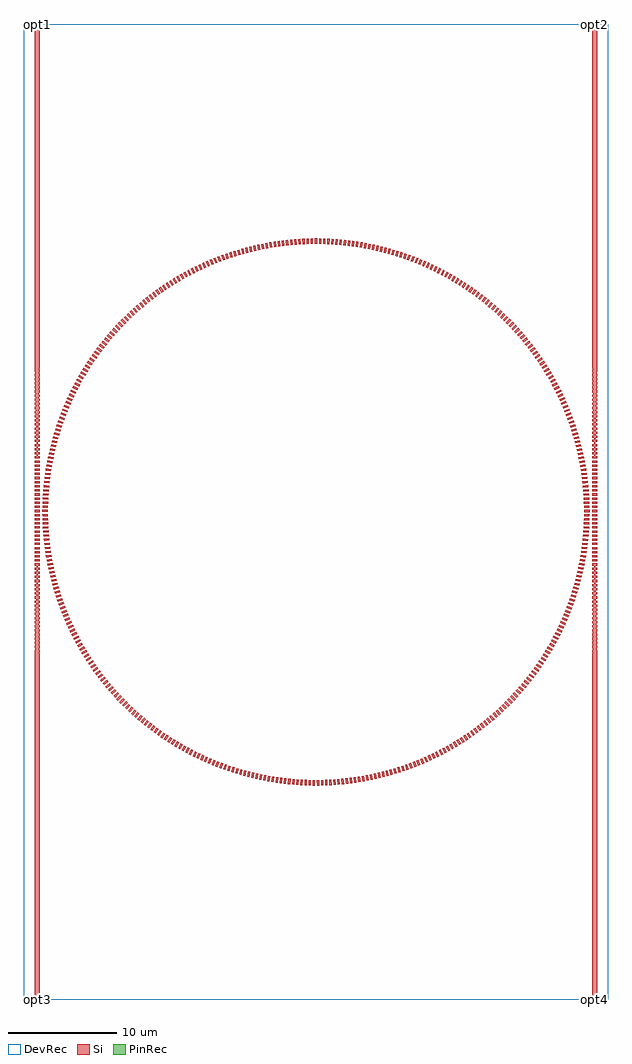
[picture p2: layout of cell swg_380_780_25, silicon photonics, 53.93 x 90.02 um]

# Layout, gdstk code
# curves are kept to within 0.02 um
import gdstk
lib = gdstk.Library(unit=1e-6, precision=1e-09)
def R(c, l, rs):  # rectangles x0, y0, x1, y1
    for r in rs: c.add(gdstk.rectangle(r[:2], r[2:], *l))
def A(c, l, x, y, w, h, nx, ny, dx, dy):  # array of equal rectangles
    R(c, l, [(x+i*dx, y+j*dy, x+i*dx+w, y+j*dy+h) for i in range(nx) for j in range(ny)])
def P(c, l, *ps):  # polygons
    for p in ps: c.add(gdstk.Polygon(p, *l))
Si = (1, 0)
PinRec = (1, 10)
DevRec = (68, 0)

swg_380_780_25 = lib.new_cell('swg_380_780_25')
A(swg_380_780_25, Si, 0, 40.44, 0.5, 0.19, 1, 25, 0, 0.38)
A(swg_380_780_25, Si, 51.426, 40.44, 0.5, 0.19, 1, 25, 0, 0.38)
P(swg_380_780_25, Si, [(25.87,69.728),(25.868,70.228),(26.06,70.228),(26.058,69.728)],
  [(36.946,67.155),(36.777,67.238),(36.996,67.687),(37.168,67.603)],
  [(51.426,49.94),(51.426,50.13),(51.643,50.13),(51.639,50.32),(51.426,50.32),(51.426,50.51),(51.635,50.51),(51.631,50.7),(51.426,50.7),(51.426,50.89),(51.627,50.89),(51.622,51.08),(51.426,51.08),(51.426,51.27),(51.618,51.27),(51.614,51.46),(51.426,51.46),(51.426,51.65),(51.61,51.65),(51.606,51.84),(51.426,51.84),(51.426,52.03),(51.602,52.03),(51.597,52.22),(51.426,52.22),(51.426,52.41),(51.593,52.41),(51.589,52.6),(51.426,52.6),(51.426,52.79),(51.585,52.79),(51.581,52.98),(51.426,52.98),(51.426,53.17),(51.576,53.17),(51.572,53.36),(51.426,53.36),(51.426,53.55),(51.568,53.55),(51.564,53.74),(51.426,53.74),(51.426,53.93),(51.56,53.93),(51.556,54.12),(51.426,54.12),(51.426,54.31),(51.551,54.31),(51.547,54.5),(51.426,54.5),(51.426,54.69),(51.543,54.69),(51.539,54.88),(51.426,54.88),(51.426,55.07),(51.535,55.07),(51.53,55.26),(51.426,55.26),(51.426,55.45),(51.526,55.45),(51.522,55.64),(51.426,55.64),(51.426,55.83),(51.518,55.83),(51.514,56.02),(51.426,56.02),(51.426,56.21),(51.51,56.21),(51.505,56.4),(51.426,56.4),(51.426,56.59),(51.501,56.59),(51.497,56.78),(51.426,56.78),(51.426,56.97),(51.493,56.97),(51.489,57.16),(51.426,57.16),(51.426,57.35),(51.485,57.35),(51.48,57.54),(51.426,57.54),(51.426,57.73),(51.476,57.73),(51.472,57.92),(51.426,57.92),(51.426,58.11),(51.468,58.11),(51.464,58.3),(51.426,58.3),(51.426,58.49),(51.459,58.49),(51.455,58.68),(51.426,58.68),(51.426,58.87),(51.451,58.87),(51.447,59.06),(51.426,59.06),(51.426,90),(51.926,90),(51.926,59.06),(51.905,59.06),(51.901,58.87),(51.926,58.87),(51.926,58.68),(51.897,58.68),(51.893,58.49),(51.926,58.49),(51.926,58.3),(51.888,58.3),(51.884,58.11),(51.926,58.11),(51.926,57.92),(51.88,57.92),(51.876,57.73),(51.926,57.73),(51.926,57.54),(51.872,57.54),(51.867,57.35),(51.926,57.35),(51.926,57.16),(51.863,57.16),(51.859,56.97),(51.926,56.97),(51.926,56.78),(51.855,56.78),(51.851,56.59),(51.926,56.59),(51.926,56.4),(51.847,56.4),(51.842,56.21),(51.926,56.21),(51.926,56.02),(51.838,56.02),(51.834,55.83),(51.926,55.83),(51.926,55.64),(51.83,55.64),(51.826,55.45),(51.926,55.45),(51.926,55.26),(51.821,55.26),(51.817,55.07),(51.926,55.07),(51.926,54.88),(51.813,54.88),(51.809,54.69),(51.926,54.69),(51.926,54.5),(51.805,54.5),(51.801,54.31),(51.926,54.31),(51.926,54.12),(51.796,54.12),(51.792,53.93),(51.926,53.93),(51.926,53.74),(51.788,53.74),(51.784,53.55),(51.926,53.55),(51.926,53.36),(51.78,53.36),(51.776,53.17),(51.926,53.17),(51.926,52.98),(51.771,52.98),(51.767,52.79),(51.926,52.79),(51.926,52.6),(51.763,52.6),(51.759,52.41),(51.926,52.41),(51.926,52.22),(51.755,52.22),(51.75,52.03),(51.926,52.03),(51.926,51.84),(51.746,51.84),(51.742,51.65),(51.926,51.65),(51.926,51.46),(51.738,51.46),(51.734,51.27),(51.926,51.27),(51.926,51.08),(51.73,51.08),(51.725,50.89),(51.926,50.89),(51.926,50.7),(51.721,50.7),(51.717,50.51),(51.926,50.51),(51.926,50.32),(51.713,50.32),(51.709,50.13),(51.926,50.13),(51.926,49.94)],
  [(36.267,67.479),(36.096,67.556),(36.3,68.013),(36.475,67.933)],
  [(36.608,67.319),(36.438,67.4),(36.649,67.853),(36.823,67.771)],
  [(37.282,66.985),(37.114,67.071),(37.34,67.517),(37.511,67.43)],
  [(38.92,66.061),(38.759,66.159),(39.018,66.587),(39.182,66.487)],
  [(32.015,68.976),(31.832,69.021),(31.951,69.507),(32.137,69.461)],
  [(33.819,68.447),(33.641,68.506),(33.796,68.981),(33.978,68.921)],
  [(35.231,67.925),(35.056,67.995),(35.24,68.46),(35.418,68.389)],
  [(34.175,68.324),(33.997,68.386),(34.16,68.859),(34.341,68.796)],
  [(27.937,69.649),(27.749,69.663),(27.785,70.162),(27.977,70.147)],
  [(30.175,69.366),(29.99,69.398),(30.071,69.891),(30.26,69.859)],
  [(33.102,68.675),(32.922,68.728),(33.063,69.208),(33.247,69.153)],
  [(32.379,68.881),(32.197,68.929),(32.323,69.413),(32.508,69.364)],
  [(28.311,69.616),(28.124,69.633),(28.168,70.131),(28.359,70.114)],
  [(29.804,69.428),(29.618,69.456),(29.692,69.951),(29.882,69.922)],
  [(26.434,69.723),(26.246,69.726),(26.252,70.226),(26.443,70.223)],
  [(28.686,69.577),(28.499,69.597),(28.55,70.095),(28.741,70.074)],
  [(29.059,69.533),(28.872,69.556),(28.931,70.053),(29.122,70.029)],
  [(32.741,68.781),(32.56,68.831),(32.694,69.313),(32.878,69.261)],
  [(30.915,69.227),(30.73,69.264),(30.827,69.755),(31.015,69.717)],
  [(33.462,68.563),(33.282,68.62),(33.43,69.097),(33.613,69.04)],
  [(35.924,67.633),(35.751,67.708),(35.949,68.167),(36.125,68.091)],
  [(31.649,69.065),(31.466,69.108),(31.577,69.595),(31.764,69.552)],
  [(27.561,69.676),(27.374,69.688),(27.402,70.187),(27.594,70.175)],
  [(27.186,69.698),(26.998,69.706),(27.019,70.206),(27.211,70.197)],
  [(34.529,68.197),(34.352,68.261),(34.522,68.732),(34.702,68.666)],
  [(29.432,69.483),(29.246,69.509),(29.312,70.004),(29.502,69.978)],
  [(35.578,67.782),(35.405,67.854),(35.596,68.316),(35.773,68.242)],
  [(26.81,69.713),(26.622,69.719),(26.635,70.219),(26.827,70.213)],
  [(30.545,69.299),(30.36,69.334),(30.449,69.826),(30.638,69.791)],
  [(31.283,69.149),(31.099,69.189),(31.203,69.678),(31.39,69.637)],
  [(34.881,68.064),(34.705,68.131),(34.882,68.599),(35.061,68.53)],
  [(38.273,66.446),(38.109,66.539),(38.355,66.974),(38.522,66.88)],
  [(37.945,66.631),(37.78,66.721),(38.019,67.16),(38.188,67.068)],
  [(38.598,66.256),(38.436,66.352),(38.688,66.783),(38.853,66.686)],
  [(37.615,66.81),(37.449,66.898),(37.681,67.341),(37.85,67.251)],
  [(47.639,56.899),(47.548,57.064),(47.985,57.308),(48.078,57.14)],
  [(48.924,54.18),(48.853,54.354),(49.316,54.543),(49.388,54.365)],
  [(44.634,61.212),(44.511,61.354),(44.886,61.685),(45.012,61.54)],
  [(39.239,65.862),(39.08,65.962),(39.345,66.386),(39.507,66.284)],
  [(45.355,60.344),(45.237,60.491),(45.627,60.804),(45.747,60.654)],
  [(41.962,63.855),(41.818,63.976),(42.139,64.36),(42.285,64.236)],
  [(50.551,47.628),(50.53,47.815),(51.027,47.872),(51.048,47.681)],
  [(45.586,60.047),(45.471,60.196),(45.865,60.503),(45.983,60.351)],
  [(47.074,57.876),(46.975,58.036),(47.4,58.3),(47.501,58.136)],
  [(41.381,64.333),(41.233,64.449),(41.542,64.843),(41.693,64.724)],
  [(43.614,62.318),(43.482,62.452),(43.836,62.805),(43.971,62.668)],
  [(50.345,49.119),(50.313,49.304),(50.806,49.391),(50.838,49.202)],
  [(44.386,61.495),(44.26,61.634),(44.63,61.971),(44.758,61.828)],
  [(48.634,54.874),(48.558,55.046),(49.015,55.249),(49.092,55.074)],
  [(50.28,49.489),(50.245,49.674),(50.736,49.769),(50.772,49.58)],
  [(44.879,60.926),(44.757,61.07),(45.137,61.395),(45.261,61.248)],
  [(46.673,58.512),(46.569,58.669),(46.986,58.946),(47.091,58.785)],
  [(49.44,52.766),(49.38,52.945),(49.853,53.105),(49.914,52.923)],
  [(40.786,64.793),(40.635,64.905),(40.931,65.307),(41.085,65.193)],
  [(43.079,62.847),(42.943,62.977),(43.286,63.34),(43.425,63.208)],
  [(43.875,62.047),(43.745,62.183),(44.105,62.531),(44.237,62.392)],
  [(46.034,59.443),(45.924,59.595),(46.328,59.89),(46.44,59.735)],
  [(50.691,45),(50.69,45.188),(51.19,45.192),(51.191,45)],
  [(49.555,52.408),(49.498,52.587),(49.974,52.741),(50.032,52.558)],
  [(50.665,46.128),(50.656,46.316),(51.155,46.343),(51.165,46.151)],
  [(48.323,55.559),(48.242,55.729),(48.693,55.946),(48.775,55.773)],
  [(47.818,56.568),(47.729,56.734),(48.169,56.971),(48.26,56.802)],
  [(47.456,57.228),(47.362,57.391),(47.795,57.641),(47.891,57.475)],
  [(50.405,48.747),(50.376,48.933),(50.87,49.013),(50.899,48.823)],
  [(42.247,63.609),(42.105,63.732),(42.431,64.111),(42.576,63.985)],
  [(45.812,59.747),(45.7,59.897),(46.099,60.198),(46.214,60.045)],
  [(42.528,63.359),(42.388,63.485),(42.72,63.858),(42.863,63.73)],
  [(50.05,50.594),(50.006,50.777),(50.493,50.894),(50.537,50.707)],
  [(41.673,64.096),(41.527,64.215),(41.842,64.603),(41.991,64.482)],
  [(46.465,58.826),(46.359,58.981),(46.771,59.264),(46.879,59.105)],
  [(49.319,53.123),(49.256,53.3),(49.727,53.468),(49.791,53.287)],
  [(49.192,53.477),(49.127,53.653),(49.596,53.828),(49.662,53.648)],
  [(50.645,46.504),(50.633,46.692),(51.132,46.726),(51.144,46.534)],
  [(42.805,63.105),(42.667,63.233),(43.005,63.601),(43.146,63.471)],
  [(50.619,46.879),(50.604,47.067),(51.103,47.108),(51.118,46.917)],
  [(41.085,64.565),(40.936,64.679),(41.238,65.077),(41.391,64.961)],
  [(39.554,65.658),(39.397,65.76),(39.669,66.18),(39.829,66.075)],
  [(50.588,47.254),(50.57,47.441),(51.068,47.491),(51.086,47.3)],
  [(43.348,62.584),(43.214,62.716),(43.563,63.074),(43.7,62.94)],
  [(46.252,59.136),(46.144,59.29),(46.552,59.579),(46.662,59.422)],
  [(40.177,65.235),(40.022,65.342),(40.307,65.753),(40.464,65.644)],
  [(49.665,52.048),(49.611,52.229),(50.089,52.375),(50.144,52.191)],
  [(50.679,45.752),(50.673,45.94),(51.173,45.959),(51.179,45.767)],
  [(49.769,51.687),(49.718,51.868),(50.198,52.007),(50.251,51.822)],
  [(50.209,49.859),(50.171,50.043),(50.661,50.145),(50.699,49.957)],
  [(47.991,56.234),(47.905,56.402),(48.349,56.632),(48.437,56.462)],
  [(40.483,65.016),(40.33,65.126),(40.621,65.533),(40.776,65.421)],
  [(44.133,61.773),(44.004,61.911),(44.369,62.253),(44.5,62.112)],
  [(50.132,50.227),(50.092,50.411),(50.579,50.52),(50.621,50.333)],
  [(49.061,53.829),(48.993,54.005),(49.459,54.187),(49.528,54.008)],
  [(48.16,55.898),(48.076,56.066),(48.523,56.29),(48.609,56.118)],
  [(45.119,60.637),(44.999,60.782),(45.384,61.101),(45.506,60.953)],
  [(39.867,65.448),(39.711,65.554),(39.989,65.969),(40.148,65.862)],
  [(49.962,50.96),(49.916,51.142),(50.4,51.266),(50.447,51.08)],
  [(49.868,51.324),(49.82,51.506),(50.302,51.637),(50.352,51.452)],
  [(46.876,58.196),(46.775,58.354),(47.196,58.624),(47.299,58.462)],
  [(50.508,48.002),(50.484,48.189),(50.98,48.253),(51.004,48.063)],
  [(48.481,55.218),(48.403,55.389),(48.856,55.599),(48.936,55.424)],
  [(48.781,54.528),(48.708,54.701),(49.168,54.897),(49.243,54.721)],
  [(47.267,57.553),(47.171,57.715),(47.6,57.972),(47.698,57.807)],
  [(50.459,48.375),(50.433,48.561),(50.928,48.633),(50.955,48.443)],
  [(50.688,45.376),(50.684,45.564),(51.184,45.576),(51.188,45.384)],
  [(0,49.94),(0,50.13),(0.217,50.13),(0.213,50.32),(0,50.32),(0,50.51),(0.209,50.51),(0.205,50.7),(0,50.7),(0,50.89),(0.201,50.89),(0.196,51.08),(0,51.08),(0,51.27),(0.192,51.27),(0.188,51.46),(0,51.46),(0,51.65),(0.184,51.65),(0.18,51.84),(0,51.84),(0,52.03),(0.176,52.03),(0.171,52.22),(0,52.22),(0,52.41),(0.167,52.41),(0.163,52.6),(0,52.6),(0,52.79),(0.159,52.79),(0.155,52.98),(0,52.98),(0,53.17),(0.15,53.17),(0.146,53.36),(0,53.36),(0,53.55),(0.142,53.55),(0.138,53.74),(0,53.74),(0,53.93),(0.134,53.93),(0.13,54.12),(0,54.12),(0,54.31),(0.125,54.31),(0.121,54.5),(0,54.5),(0,54.69),(0.117,54.69),(0.113,54.88),(0,54.88),(0,55.07),(0.109,55.07),(0.104,55.26),(0,55.26),(0,55.45),(0.1,55.45),(0.096,55.64),(0,55.64),(0,55.83),(0.092,55.83),(0.088,56.02),(0,56.02),(0,56.21),(0.084,56.21),(0.079,56.4),(0,56.4),(0,56.59),(0.075,56.59),(0.071,56.78),(0,56.78),(0,56.97),(0.067,56.97),(0.063,57.16),(0,57.16),(0,57.35),(0.059,57.35),(0.054,57.54),(0,57.54),(0,57.73),(0.05,57.73),(0.046,57.92),(0,57.92),(0,58.11),(0.042,58.11),(0.038,58.3),(0,58.3),(0,58.49),(0.033,58.49),(0.029,58.68),(0,58.68),(0,58.87),(0.025,58.87),(0.021,59.06),(0,59.06),(0,90),(0.5,90),(0.5,59.06),(0.479,59.06),(0.475,58.87),(0.5,58.87),(0.5,58.68),(0.471,58.68),(0.467,58.49),(0.5,58.49),(0.5,58.3),(0.462,58.3),(0.458,58.11),(0.5,58.11),(0.5,57.92),(0.454,57.92),(0.45,57.73),(0.5,57.73),(0.5,57.54),(0.446,57.54),(0.441,57.35),(0.5,57.35),(0.5,57.16),(0.437,57.16),(0.433,56.97),(0.5,56.97),(0.5,56.78),(0.429,56.78),(0.425,56.59),(0.5,56.59),(0.5,56.4),(0.421,56.4),(0.416,56.21),(0.5,56.21),(0.5,56.02),(0.412,56.02),(0.408,55.83),(0.5,55.83),(0.5,55.64),(0.404,55.64),(0.4,55.45),(0.5,55.45),(0.5,55.26),(0.395,55.26),(0.391,55.07),(0.5,55.07),(0.5,54.88),(0.387,54.88),(0.383,54.69),(0.5,54.69),(0.5,54.5),(0.379,54.5),(0.375,54.31),(0.5,54.31),(0.5,54.12),(0.37,54.12),(0.366,53.93),(0.5,53.93),(0.5,53.74),(0.362,53.74),(0.358,53.55),(0.5,53.55),(0.5,53.36),(0.354,53.36),(0.35,53.17),(0.5,53.17),(0.5,52.98),(0.345,52.98),(0.341,52.79),(0.5,52.79),(0.5,52.6),(0.337,52.6),(0.333,52.41),(0.5,52.41),(0.5,52.22),(0.329,52.22),(0.324,52.03),(0.5,52.03),(0.5,51.84),(0.32,51.84),(0.316,51.65),(0.5,51.65),(0.5,51.46),(0.312,51.46),(0.308,51.27),(0.5,51.27),(0.5,51.08),(0.304,51.08),(0.299,50.89),(0.5,50.89),(0.5,50.7),(0.295,50.7),(0.291,50.51),(0.5,50.51),(0.5,50.32),(0.287,50.32),(0.283,50.13),(0.5,50.13),(0.5,49.94)],
  [(15.66,67.479),(15.452,67.934),(15.627,68.013),(15.832,67.557)],
  [(15.32,67.32),(15.104,67.771),(15.278,67.853),(15.49,67.4)],
  [(14.981,67.156),(14.759,67.604),(14.932,67.688),(15.15,67.238)],
  [(14.646,66.986),(14.417,67.43),(14.588,67.518),(14.813,67.071)],
  [(13.008,66.062),(12.746,66.488),(12.909,66.588),(13.168,66.16)],
  [(19.549,68.881),(19.419,69.364),(19.605,69.413),(19.731,68.929)],
  [(25.494,69.723),(25.484,70.223),(25.676,70.226),(25.682,69.726)],
  [(17.752,68.325),(17.586,68.796),(17.768,68.86),(17.93,68.387)],
  [(21.013,69.227),(20.913,69.717),(21.101,69.755),(21.197,69.264)],
  [(24.742,69.698),(24.717,70.197),(24.909,70.206),(24.93,69.706)],
  [(21.752,69.367),(21.667,69.859),(21.856,69.891),(21.938,69.398)],
  [(21.382,69.3),(21.289,69.791),(21.478,69.826),(21.567,69.334)],
  [(20.645,69.149),(20.537,69.637),(20.725,69.678),(20.829,69.189)],
  [(25.117,69.713),(25.1,70.213),(25.292,70.219),(25.305,69.719)],
  [(22.868,69.533),(22.806,70.029),(22.996,70.053),(23.055,69.556)],
  [(18.108,68.447),(17.949,68.921),(18.132,68.981),(18.287,68.506)],
  [(16.697,67.926),(16.509,68.39),(16.688,68.461),(16.871,67.996)],
  [(23.242,69.578),(23.187,70.075),(23.378,70.095),(23.429,69.598)],
  [(16.004,67.633),(15.802,68.091),(15.978,68.168),(16.176,67.709)],
  [(19.913,68.976),(19.79,69.461),(19.977,69.507),(20.095,69.022)],
  [(18.466,68.564),(18.314,69.04),(18.497,69.098),(18.645,68.62)],
  [(19.186,68.781),(19.049,69.262),(19.234,69.314),(19.367,68.832)],
  [(17.047,68.064),(16.866,68.531),(17.046,68.599),(17.222,68.131)],
  [(20.278,69.065),(20.163,69.552),(20.35,69.595),(20.461,69.108)],
  [(18.825,68.675),(18.681,69.154),(18.865,69.209),(19.005,68.729)],
  [(23.616,69.616),(23.569,70.114),(23.76,70.131),(23.803,69.633)],
  [(17.399,68.197),(17.225,68.666),(17.406,68.732),(17.575,68.262)],
  [(16.349,67.782),(16.155,68.243),(16.332,68.317),(16.523,67.855)],
  [(22.495,69.483),(22.425,69.979),(22.615,70.005),(22.682,69.509)],
  [(23.991,69.649),(23.951,70.147),(24.142,70.162),(24.178,69.663)],
  [(24.366,69.676),(24.334,70.175),(24.525,70.187),(24.554,69.688)],
  [(22.123,69.428),(22.046,69.922),(22.235,69.951),(22.309,69.456)],
  [(10.842,64.566),(10.536,64.962),(10.689,65.078),(10.991,64.68)],
  [(7.794,61.774),(7.427,62.113),(7.558,62.254),(7.923,61.912)],
  [(9.68,63.61),(9.351,63.986),(9.496,64.112),(9.822,63.733)],
  [(1.307,46.881),(0.808,46.919),(0.824,47.11),(1.322,47.068)],
  [(3.935,56.236),(3.49,56.463),(3.578,56.633),(4.021,56.403)],
  [(1.281,46.505),(0.782,46.536),(0.794,46.727),(1.293,46.693)],
  [(3.767,55.899),(3.318,56.12),(3.403,56.292),(3.85,56.068)],
  [(5.462,58.827),(5.048,59.106),(5.156,59.265),(5.568,58.982)],
  [(2.487,52.768),(2.012,52.925),(2.073,53.107),(2.547,52.946)],
  [(3.446,55.219),(2.99,55.426),(3.07,55.6),(3.524,55.39)],
  [(11.751,65.235),(11.463,65.645),(11.621,65.754),(11.905,65.343)],
  [(3.145,54.529),(2.684,54.722),(2.758,54.899),(3.218,54.703)],
  [(2.157,51.689),(1.676,51.824),(1.728,52.008),(2.209,51.869)],
  [(1.646,49.491),(1.155,49.582),(1.19,49.77),(1.681,49.676)],
  [(1.467,48.377),(0.972,48.445),(0.998,48.635),(1.493,48.563)],
  [(9.122,63.106),(8.781,63.472),(8.922,63.602),(9.26,63.234)],
  [(4.659,57.555),(4.229,57.808),(4.327,57.973),(4.755,57.716)],
  [(9.399,63.36),(9.064,63.732),(9.207,63.86),(9.539,63.486)],
  [(4.853,57.877),(4.426,58.138),(4.526,58.301),(4.951,58.037)],
  [(9.965,63.856),(9.642,64.237),(9.789,64.361),(10.109,63.977)],
  [(10.546,64.334),(10.235,64.725),(10.385,64.844),(10.694,64.45)],
  [(1.261,46.13),(0.762,46.153),(0.771,46.344),(1.27,46.318)],
  [(5.892,59.444),(5.487,59.736),(5.599,59.892),(6.003,59.596)],
  [(6.114,59.748),(5.713,60.046),(5.828,60.2),(6.227,59.898)],
  [(10.254,64.097),(9.936,64.483),(10.085,64.604),(10.4,64.216)],
  [(5.254,58.513),(4.836,58.787),(4.941,58.947),(5.358,58.671)],
  [(8.313,62.319),(7.956,62.669),(8.091,62.806),(8.445,62.453)],
  [(6.572,60.345),(6.18,60.655),(6.3,60.805),(6.69,60.492)],
  [(5.675,59.137),(5.265,59.423),(5.375,59.58),(5.783,59.291)],
  [(11.142,64.794),(10.842,65.194),(10.996,65.308),(11.293,64.906)],
  [(2.371,52.41),(1.894,52.559),(1.953,52.742),(2.429,52.589)],
  [(12.373,65.658),(12.098,66.076),(12.259,66.181),(12.53,65.761)],
  [(8.848,62.848),(8.502,63.209),(8.641,63.341),(8.984,62.978)],
  [(1.794,50.228),(1.306,50.334),(1.347,50.522),(1.835,50.412)],
  [(1.418,48.004),(0.922,48.064),(0.946,48.255),(1.442,48.19)],
  [(6.808,60.638),(6.421,60.954),(6.543,61.102),(6.927,60.783)],
  [(2.866,53.831),(2.399,54.009),(2.468,54.188),(2.934,54.006)],
  [(8.052,62.048),(7.69,62.393),(7.822,62.532),(8.182,62.184)],
  [(1.581,49.12),(1.088,49.204),(1.121,49.393),(1.613,49.306)],
  [(5.051,58.197),(4.628,58.464),(4.731,58.626),(5.152,58.355)],
  [(1.521,48.749),(1.027,48.825),(1.057,49.014),(1.55,48.935)],
  [(7.541,61.496),(7.169,61.829),(7.297,61.972),(7.667,61.635)],
  [(3.604,55.56),(3.152,55.774),(3.234,55.947),(3.685,55.73)],
  [(12.06,65.449),(11.779,65.863),(11.938,65.97),(12.216,65.554)],
  [(2.608,53.124),(2.136,53.288),(2.199,53.469),(2.67,53.301)],
  [(1.965,50.961),(1.479,51.082),(1.526,51.268),(2.011,51.144)],
  [(8.579,62.585),(8.227,62.941),(8.364,63.075),(8.713,62.717)],
  [(1.877,50.595),(1.39,50.709),(1.434,50.895),(1.92,50.779)],
  [(2.734,53.478),(2.264,53.65),(2.331,53.83),(2.799,53.655)],
  [(1.247,45.754),(0.747,45.769),(0.754,45.961),(1.253,45.942)],
  [(7.293,61.213),(6.915,61.541),(7.041,61.686),(7.416,61.355)],
  [(4.287,56.901),(3.849,57.141),(3.942,57.309),(4.378,57.065)],
  [(1.375,47.63),(0.878,47.683),(0.899,47.874),(1.396,47.817)],
  [(12.689,65.863),(12.42,66.285),(12.583,66.387),(12.848,65.963)],
  [(2.261,52.05),(1.782,52.192),(1.838,52.376),(2.316,52.23)],
  [(3.003,54.181),(2.539,54.367),(2.61,54.545),(3.073,54.355)],
  [(4.471,57.229),(4.036,57.476),(4.132,57.643),(4.564,57.392)],
  [(7.048,60.928),(6.666,61.25),(6.79,61.396),(7.17,61.071)],
  [(3.293,54.875),(2.834,55.075),(2.912,55.251),(3.368,55.047)],
  [(6.341,60.048),(5.944,60.352),(6.062,60.504),(6.456,60.197)],
  [(4.109,56.569),(3.667,56.803),(3.757,56.973),(4.197,56.735)],
  [(1.338,47.255),(0.84,47.301),(0.859,47.492),(1.356,47.443)],
  [(2.058,51.326),(1.575,51.454),(1.624,51.639),(2.107,51.507)],
  [(11.444,65.017),(11.151,65.422),(11.307,65.534),(11.597,65.127)],
  [(1.718,49.86),(1.227,49.958),(1.266,50.146),(1.755,50.044)],
  [(1.235,45.001),(0.735,45.002),(0.736,45.193),(1.236,45.19)],
  [(1.238,45.378),(0.738,45.385),(0.742,45.577),(1.242,45.566)],
  [(13.982,66.631),(13.74,67.069),(13.908,67.161),(14.147,66.722)],
  [(13.654,66.447),(13.405,66.88),(13.572,66.975),(13.818,66.54)],
  [(13.329,66.257),(13.074,66.687),(13.239,66.784),(13.492,66.352)],
  [(14.312,66.811),(14.077,67.252),(14.246,67.342),(14.479,66.899)],
  [(15.102,22.23),(14.929,22.313),(15.148,22.763),(15.317,22.681)],
  [(12.743,23.513),(12.58,23.615),(12.845,24.038),(13.005,23.939)],
  [(0,0),(0,31.13),(0.021,31.13),(0.025,31.32),(0,31.32),(0,31.51),(0.029,31.51),(0.033,31.7),(0,31.7),(0,31.89),(0.038,31.89),(0.042,32.08),(0,32.08),(0,32.27),(0.046,32.27),(0.05,32.46),(0,32.46),(0,32.65),(0.054,32.65),(0.059,32.84),(0,32.84),(0,33.03),(0.063,33.03),(0.067,33.22),(0,33.22),(0,33.41),(0.071,33.41),(0.075,33.6),(0,33.6),(0,33.79),(0.079,33.79),(0.084,33.98),(0,33.98),(0,34.17),(0.088,34.17),(0.092,34.36),(0,34.36),(0,34.55),(0.096,34.55),(0.1,34.74),(0,34.74),(0,34.93),(0.104,34.93),(0.109,35.12),(0,35.12),(0,35.31),(0.113,35.31),(0.117,35.5),(0,35.5),(0,35.69),(0.121,35.69),(0.125,35.88),(0,35.88),(0,36.07),(0.13,36.07),(0.134,36.26),(0,36.26),(0,36.45),(0.138,36.45),(0.142,36.64),(0,36.64),(0,36.83),(0.146,36.83),(0.15,37.02),(0,37.02),(0,37.21),(0.155,37.21),(0.159,37.4),(0,37.4),(0,37.59),(0.163,37.59),(0.167,37.78),(0,37.78),(0,37.97),(0.171,37.97),(0.176,38.16),(0,38.16),(0,38.35),(0.18,38.35),(0.184,38.54),(0,38.54),(0,38.73),(0.188,38.73),(0.192,38.92),(0,38.92),(0,39.11),(0.196,39.11),(0.201,39.3),(0,39.3),(0,39.49),(0.205,39.49),(0.209,39.68),(0,39.68),(0,39.87),(0.213,39.87),(0.217,40.06),(0,40.06),(0,40.25),(0.5,40.25),(0.5,40.06),(0.283,40.06),(0.287,39.87),(0.5,39.87),(0.5,39.68),(0.291,39.68),(0.295,39.49),(0.5,39.49),(0.5,39.3),(0.299,39.3),(0.304,39.11),(0.5,39.11),(0.5,38.92),(0.308,38.92),(0.312,38.73),(0.5,38.73),(0.5,38.54),(0.316,38.54),(0.32,38.35),(0.5,38.35),(0.5,38.16),(0.324,38.16),(0.329,37.97),(0.5,37.97),(0.5,37.78),(0.333,37.78),(0.337,37.59),(0.5,37.59),(0.5,37.4),(0.341,37.4),(0.345,37.21),(0.5,37.21),(0.5,37.02),(0.35,37.02),(0.354,36.83),(0.5,36.83),(0.5,36.64),(0.358,36.64),(0.362,36.45),(0.5,36.45),(0.5,36.26),(0.366,36.26),(0.37,36.07),(0.5,36.07),(0.5,35.88),(0.375,35.88),(0.379,35.69),(0.5,35.69),(0.5,35.5),(0.383,35.5),(0.387,35.31),(0.5,35.31),(0.5,35.12),(0.391,35.12),(0.395,34.93),(0.5,34.93),(0.5,34.74),(0.4,34.74),(0.404,34.55),(0.5,34.55),(0.5,34.36),(0.408,34.36),(0.412,34.17),(0.5,34.17),(0.5,33.98),(0.416,33.98),(0.421,33.79),(0.5,33.79),(0.5,33.6),(0.425,33.6),(0.429,33.41),(0.5,33.41),(0.5,33.22),(0.433,33.22),(0.437,33.03),(0.5,33.03),(0.5,32.84),(0.441,32.84),(0.446,32.65),(0.5,32.65),(0.5,32.46),(0.45,32.46),(0.454,32.27),(0.5,32.27),(0.5,32.08),(0.458,32.08),(0.462,31.89),(0.5,31.89),(0.5,31.7),(0.467,31.7),(0.471,31.51),(0.5,31.51),(0.5,31.32),(0.475,31.32),(0.479,31.13),(0.5,31.13),(0.5,0)],
  [(14.757,22.398),(14.585,22.484),(14.811,22.93),(14.979,22.846)],
  [(15.449,22.067),(15.275,22.148),(15.487,22.601),(15.658,22.522)],
  [(13.071,23.315),(12.907,23.414),(13.166,23.841),(13.327,23.745)],
  [(14.074,22.749),(13.905,22.84),(14.144,23.279),(14.31,23.19)],
  [(13.737,22.933),(13.57,23.026),(13.815,23.462),(13.979,23.37)],
  [(14.414,22.571),(14.244,22.659),(14.476,23.102),(14.643,23.015)],
  [(13.403,23.121),(13.237,23.217),(13.489,23.649),(13.652,23.555)],
  [(6.913,28.461),(6.788,28.606),(7.168,28.931),(7.291,28.789)],
  [(9.934,25.519),(9.786,25.641),(10.107,26.025),(10.252,25.905)],
  [(0.747,44.234),(0.742,44.426),(1.242,44.437),(1.247,44.249)],
  [(0.808,43.084),(0.794,43.276),(1.293,43.31),(1.307,43.122)],
  [(6.664,28.753),(6.541,28.9),(6.926,29.219),(7.046,29.075)],
  [(1.305,39.669),(1.265,39.857),(1.755,39.959),(1.794,39.775)],
  [(1.675,38.179),(1.624,38.364),(2.106,38.496),(2.156,38.314)],
  [(0.922,41.939),(0.899,42.129),(1.396,42.186),(1.418,41.999)],
  [(0.782,43.467),(0.771,43.659),(1.27,43.685),(1.281,43.498)],
  [(1.574,38.549),(1.525,38.735),(2.01,38.859),(2.057,38.677)],
  [(3.15,34.229),(3.069,34.403),(3.523,34.613),(3.602,34.442)],
  [(8.5,26.793),(8.362,26.927),(8.711,27.285),(8.846,27.154)],
  [(7.954,27.333),(7.82,27.471),(8.18,27.818),(8.311,27.683)],
  [(10.232,25.277),(10.083,25.398),(10.397,25.786),(10.544,25.668)],
  [(5.046,30.896),(4.939,31.056),(5.356,31.332),(5.461,31.176)],
  [(5.485,30.266),(5.373,30.422),(5.781,30.711),(5.891,30.558)],
  [(2.833,34.928),(2.757,35.104),(3.217,35.3),(3.292,35.127)],
  [(3.665,33.199),(3.576,33.369),(4.02,33.6),(4.107,33.433)],
  [(10.839,24.808),(10.686,24.924),(10.989,25.321),(11.139,25.208)],
  [(1.479,38.921),(1.433,39.108),(1.919,39.224),(1.964,39.042)],
  [(4.035,32.526),(3.94,32.694),(4.377,32.937),(4.469,32.774)],
  [(3.488,33.54),(3.402,33.711),(3.849,33.935),(3.934,33.767)],
  [(2.398,35.994),(2.33,36.173),(2.798,36.348),(2.865,36.172)],
  [(12.095,23.926),(11.936,24.032),(12.214,24.447),(12.37,24.343)],
  [(9.349,26.016),(9.205,26.143),(9.537,26.516),(9.678,26.392)],
  [(2.263,36.353),(2.198,36.534),(2.669,36.701),(2.733,36.525)],
  [(3.847,32.861),(3.756,33.03),(4.196,33.267),(4.286,33.102)],
  [(4.424,31.865),(4.325,32.029),(4.754,32.286),(4.851,32.125)],
  [(5.711,29.956),(5.597,30.111),(6.001,30.406),(6.113,30.255)],
  [(0.878,42.32),(0.858,42.511),(1.356,42.56),(1.375,42.373)],
  [(0.738,44.618),(0.736,44.81),(1.236,44.813),(1.238,44.625)],
  [(4.227,32.194),(4.13,32.36),(4.563,32.61),(4.658,32.448)],
  [(12.418,23.717),(12.256,23.821),(12.528,24.24),(12.686,24.139)],
  [(0.761,43.851),(0.753,44.042),(1.253,44.061),(1.261,43.873)],
  [(5.263,30.58),(5.154,30.737),(5.566,31.02),(5.673,30.865)],
  [(1.227,40.045),(1.19,40.233),(1.681,40.327),(1.717,40.143)],
  [(2.683,35.281),(2.609,35.458),(3.072,35.647),(3.144,35.474)],
  [(1.781,37.81),(1.727,37.995),(2.208,38.133),(2.261,37.953)],
  [(2.135,36.715),(2.072,36.896),(2.546,37.057),(2.607,36.879)],
  [(6.419,29.048),(6.298,29.197),(6.688,29.51),(6.806,29.364)],
  [(0.84,42.702),(0.823,42.893),(1.322,42.935),(1.338,42.747)],
  [(10.534,25.04),(10.383,25.158),(10.691,25.552),(10.84,25.436)],
  [(11.461,24.357),(11.304,24.468),(11.595,24.875),(11.748,24.766)],
  [(1.389,39.294),(1.346,39.481),(1.834,39.591),(1.876,39.407)],
  [(7.687,27.609),(7.556,27.749),(7.921,28.09),(8.05,27.954)],
  [(9.062,26.271),(8.92,26.4),(9.258,26.768),(9.397,26.642)],
  [(1.154,40.421),(1.12,40.61),(1.612,40.697),(1.646,40.512)],
  [(6.178,29.347),(6.06,29.498),(6.454,29.806),(6.57,29.658)],
  [(8.225,27.061),(8.089,27.197),(8.443,27.549),(8.577,27.417)],
  [(5.942,29.65),(5.826,29.803),(6.225,30.104),(6.339,29.954)],
  [(4.834,31.216),(4.73,31.377),(5.15,31.647),(5.253,31.489)],
  [(3.317,33.883),(3.233,34.056),(3.683,34.273),(3.766,34.103)],
  [(11.776,24.139),(11.618,24.247),(11.903,24.659),(12.058,24.552)],
  [(9.639,25.765),(9.494,25.89),(9.82,26.269),(9.963,26.146)],
  [(2.011,37.078),(1.952,37.261),(2.428,37.414),(2.486,37.235)],
  [(1.087,40.799),(1.056,40.989),(1.55,41.068),(1.58,40.883)],
  [(7.167,28.173),(7.039,28.317),(7.414,28.647),(7.539,28.507)],
  [(1.026,41.178),(0.998,41.368),(1.493,41.44),(1.521,41.254)],
  [(2.537,35.636),(2.467,35.815),(2.933,35.997),(3.002,35.822)],
  [(2.989,34.577),(2.91,34.752),(3.367,34.955),(3.444,34.784)],
  [(7.425,27.889),(7.295,28.031),(7.665,28.367),(7.792,28.228)],
  [(8.779,26.53),(8.639,26.661),(8.982,27.025),(9.119,26.896)],
  [(11.148,24.58),(10.994,24.693),(11.29,25.096),(11.442,24.985)],
  [(0.971,41.558),(0.946,41.748),(1.441,41.813),(1.466,41.626)],
  [(1.894,37.443),(1.837,37.627),(2.315,37.773),(2.371,37.593)],
  [(4.627,31.539),(4.525,31.702),(4.95,31.965),(5.05,31.806)],
  [(23.948,19.853),(23.757,19.869),(23.8,20.367),(23.988,20.351)],
  [(17.946,21.08),(17.765,21.141),(17.927,21.614),(18.105,21.554)],
  [(24.331,19.825),(24.139,19.838),(24.175,20.337),(24.363,20.324)],
  [(19.787,20.54),(19.602,20.587),(19.728,21.071),(19.91,21.025)],
  [(24.714,19.803),(24.522,19.813),(24.551,20.313),(24.739,20.303)],
  [(18.678,20.847),(18.494,20.903),(18.642,21.381),(18.822,21.326)],
  [(22.043,20.079),(21.853,20.109),(21.935,20.603),(22.12,20.573)],
  [(21.286,20.209),(21.098,20.246),(21.194,20.736),(21.379,20.701)],
  [(25.097,19.787),(24.906,19.794),(24.927,20.294),(25.114,20.287)],
  [(19.046,20.739),(18.862,20.792),(19.003,21.272),(19.183,21.22)],
  [(25.481,19.777),(25.289,19.781),(25.302,20.281),(25.491,20.277)],
  [(16.863,21.47),(16.685,21.54),(16.869,22.005),(17.044,21.937)],
  [(17.222,21.335),(17.043,21.402),(17.22,21.87),(17.396,21.804)],
  [(21.664,20.141),(21.475,20.175),(21.564,20.667),(21.749,20.634)],
  [(23.566,19.886),(23.375,19.905),(23.426,20.403),(23.613,20.384)],
  [(19.416,20.637),(19.231,20.687),(19.364,21.169),(19.546,21.119)],
  [(16.507,21.612),(16.329,21.684),(16.52,22.146),(16.694,22.075)],
  [(18.311,20.961),(18.129,21.02),(18.284,21.495),(18.463,21.437)],
  [(20.91,20.283),(20.722,20.323),(20.826,20.812),(21.01,20.773)],
  [(17.584,21.205),(17.403,21.269),(17.572,21.739),(17.75,21.676)],
  [(22.803,19.971),(22.612,19.996),(22.679,20.491),(22.865,20.467)],
  [(23.184,19.926),(22.993,19.948),(23.052,20.444),(23.239,20.423)],
  [(22.422,20.022),(22.232,20.05),(22.306,20.544),(22.492,20.517)],
  [(25.865,19.772),(25.673,19.774),(25.679,20.274),(25.867,20.272)],
  [(16.152,21.758),(15.975,21.833),(16.173,22.293),(16.346,22.219)],
  [(20.16,20.449),(19.974,20.494),(20.092,20.979),(20.275,20.935)],
  [(20.534,20.363),(20.347,20.405),(20.458,20.893),(20.642,20.852)],
  [(15.799,21.91),(15.624,21.988),(15.829,22.444),(16.001,22.368)],
  [(51.426,0),(51.426,31.13),(51.447,31.13),(51.451,31.32),(51.426,31.32),(51.426,31.51),(51.455,31.51),(51.459,31.7),(51.426,31.7),(51.426,31.89),(51.464,31.89),(51.468,32.08),(51.426,32.08),(51.426,32.27),(51.472,32.27),(51.476,32.46),(51.426,32.46),(51.426,32.65),(51.48,32.65),(51.485,32.84),(51.426,32.84),(51.426,33.03),(51.489,33.03),(51.493,33.22),(51.426,33.22),(51.426,33.41),(51.497,33.41),(51.501,33.6),(51.426,33.6),(51.426,33.79),(51.505,33.79),(51.51,33.98),(51.426,33.98),(51.426,34.17),(51.514,34.17),(51.518,34.36),(51.426,34.36),(51.426,34.55),(51.522,34.55),(51.526,34.74),(51.426,34.74),(51.426,34.93),(51.53,34.93),(51.535,35.12),(51.426,35.12),(51.426,35.31),(51.539,35.31),(51.543,35.5),(51.426,35.5),(51.426,35.69),(51.547,35.69),(51.551,35.88),(51.426,35.88),(51.426,36.07),(51.556,36.07),(51.56,36.26),(51.426,36.26),(51.426,36.45),(51.564,36.45),(51.568,36.64),(51.426,36.64),(51.426,36.83),(51.572,36.83),(51.576,37.02),(51.426,37.02),(51.426,37.21),(51.581,37.21),(51.585,37.4),(51.426,37.4),(51.426,37.59),(51.589,37.59),(51.593,37.78),(51.426,37.78),(51.426,37.97),(51.597,37.97),(51.602,38.16),(51.426,38.16),(51.426,38.35),(51.606,38.35),(51.61,38.54),(51.426,38.54),(51.426,38.73),(51.614,38.73),(51.618,38.92),(51.426,38.92),(51.426,39.11),(51.622,39.11),(51.627,39.3),(51.426,39.3),(51.426,39.49),(51.631,39.49),(51.635,39.68),(51.426,39.68),(51.426,39.87),(51.639,39.87),(51.643,40.06),(51.426,40.06),(51.426,40.25),(51.926,40.25),(51.926,40.06),(51.709,40.06),(51.713,39.87),(51.926,39.87),(51.926,39.68),(51.717,39.68),(51.721,39.49),(51.926,39.49),(51.926,39.3),(51.725,39.3),(51.73,39.11),(51.926,39.11),(51.926,38.92),(51.734,38.92),(51.738,38.73),(51.926,38.73),(51.926,38.54),(51.742,38.54),(51.746,38.35),(51.926,38.35),(51.926,38.16),(51.75,38.16),(51.755,37.97),(51.926,37.97),(51.926,37.78),(51.759,37.78),(51.763,37.59),(51.926,37.59),(51.926,37.4),(51.767,37.4),(51.771,37.21),(51.926,37.21),(51.926,37.02),(51.776,37.02),(51.78,36.83),(51.926,36.83),(51.926,36.64),(51.784,36.64),(51.788,36.45),(51.926,36.45),(51.926,36.26),(51.792,36.26),(51.796,36.07),(51.926,36.07),(51.926,35.88),(51.801,35.88),(51.805,35.69),(51.926,35.69),(51.926,35.5),(51.809,35.5),(51.813,35.31),(51.926,35.31),(51.926,35.12),(51.817,35.12),(51.821,34.93),(51.926,34.93),(51.926,34.74),(51.826,34.74),(51.83,34.55),(51.926,34.55),(51.926,34.36),(51.834,34.36),(51.838,34.17),(51.926,34.17),(51.926,33.98),(51.842,33.98),(51.847,33.79),(51.926,33.79),(51.926,33.6),(51.851,33.6),(51.855,33.41),(51.926,33.41),(51.926,33.22),(51.859,33.22),(51.863,33.03),(51.926,33.03),(51.926,32.84),(51.867,32.84),(51.872,32.65),(51.926,32.65),(51.926,32.46),(51.876,32.46),(51.88,32.27),(51.926,32.27),(51.926,32.08),(51.884,32.08),(51.888,31.89),(51.926,31.89),(51.926,31.7),(51.893,31.7),(51.897,31.51),(51.926,31.51),(51.926,31.32),(51.901,31.32),(51.905,31.13),(51.926,31.13),(51.926,0)],
  [(38.851,23.312),(38.595,23.742),(38.757,23.839),(39.015,23.411)],
  [(37.165,22.396),(36.943,22.844),(37.111,22.928),(37.337,22.482)],
  [(36.472,22.065),(36.264,22.52),(36.435,22.599),(36.647,22.146)],
  [(36.82,22.228),(36.605,22.679),(36.774,22.761),(36.993,22.311)],
  [(39.179,23.511),(38.917,23.937),(39.077,24.036),(39.342,23.612)],
  [(50.143,37.806),(49.664,37.949),(49.717,38.129),(50.197,37.99)],
  [(48.435,33.536),(47.99,33.763),(48.075,33.931),(48.522,33.707)],
  [(50.838,40.795),(50.345,40.878),(50.375,41.064),(50.869,40.984)],
  [(45.981,29.646),(45.584,29.951),(45.698,30.1),(46.097,29.799)],
  [(44.498,27.886),(44.131,28.225),(44.258,28.364),(44.628,28.027)],
  [(51.144,43.463),(50.645,43.493),(50.656,43.681),(51.155,43.654)],
  [(45.259,28.749),(44.877,29.071),(44.998,29.216),(45.382,28.896)],
  [(44.235,27.606),(43.873,27.95),(44.002,28.087),(44.367,27.745)],
  [(47.697,32.19),(47.266,32.444),(47.361,32.607),(47.793,32.356)],
  [(49.661,36.349),(49.191,36.52),(49.255,36.697),(49.726,36.529)],
  [(51.164,43.846),(50.665,43.869),(50.673,44.057),(51.172,44.038)],
  [(43.144,26.527),(42.803,26.893),(42.94,27.021),(43.284,26.658)],
  [(45.504,29.045),(45.117,29.361),(45.236,29.507),(45.625,29.194)],
  [(49.79,36.71),(49.318,36.875),(49.379,37.053),(49.852,36.892)],
  [(42.861,26.267),(42.526,26.639),(42.665,26.765),(43.003,26.397)],
  [(48.258,33.195),(47.817,33.429),(47.904,33.596),(48.348,33.365)],
  [(50.771,40.417),(50.279,40.508),(50.313,40.693),(50.805,40.606)],
  [(50.698,40.04),(50.208,40.138),(50.244,40.323),(50.735,40.228)],
  [(40.774,24.578),(40.48,24.982),(40.632,25.093),(40.929,24.691)],
  [(51.048,42.315),(50.55,42.369),(50.57,42.556),(51.067,42.506)],
  [(47.499,31.861),(47.072,32.122),(47.17,32.283),(47.599,32.025)],
  [(40.146,24.136),(39.865,24.55),(40.02,24.656),(40.304,24.245)],
  [(50.25,38.175),(49.769,38.31),(49.819,38.491),(50.301,38.36)],
  [(44.756,28.17),(44.384,28.503),(44.509,28.644),(44.884,28.313)],
  [(39.827,23.923),(39.552,24.341),(39.709,24.445),(39.987,24.029)],
  [(47.889,32.522),(47.454,32.77),(47.547,32.934),(47.983,32.69)],
  [(51.004,41.934),(50.508,41.995),(50.53,42.182),(51.026,42.125)],
  [(50.351,38.545),(49.868,38.673),(49.915,38.855),(50.399,38.731)],
  [(40.461,24.355),(40.174,24.764),(40.328,24.872),(40.618,24.465)],
  [(41.083,24.805),(40.783,25.205),(40.933,25.319),(41.236,24.921)],
  [(50.899,41.174),(50.405,41.25),(50.433,41.436),(50.927,41.364)],
  [(49.091,34.924),(48.633,35.123),(48.707,35.296),(49.167,35.1)],
  [(49.527,35.989),(49.06,36.168),(49.126,36.344),(49.595,36.169)],
  [(46.212,29.953),(45.811,30.251),(45.922,30.402),(46.326,30.107)],
  [(48.774,34.225),(48.322,34.438),(48.401,34.609),(48.855,34.399)],
  [(50.954,41.554),(50.459,41.622),(50.484,41.808),(50.98,41.744)],
  [(43.423,26.79),(43.077,27.151),(43.212,27.282),(43.561,26.924)],
  [(49.913,37.074),(49.439,37.231),(49.497,37.41),(49.973,37.256)],
  [(45.745,29.344),(45.353,29.654),(45.469,29.802),(45.863,29.495)],
  [(49.242,35.277),(48.78,35.469),(48.852,35.643),(49.315,35.454)],
  [(51.085,42.697),(50.588,42.743),(50.604,42.93),(51.102,42.889)],
  [(41.988,25.516),(41.671,25.902),(41.816,26.022),(42.136,25.638)],
  [(41.388,25.038),(41.083,25.433),(41.231,25.549),(41.54,25.155)],
  [(48.076,32.857),(47.638,33.098),(47.728,33.263),(48.168,33.026)],
  [(43.698,27.058),(43.346,27.414),(43.48,27.546),(43.834,27.193)],
  [(48.607,33.879),(48.158,34.099),(48.241,34.269),(48.691,34.052)],
  [(47.09,31.212),(46.671,31.485),(46.773,31.643),(47.194,31.373)],
  [(49.387,35.632),(48.923,35.818),(48.992,35.992),(49.457,35.81)],
  [(50.536,39.29),(50.049,39.403),(50.091,39.586),(50.579,39.477)],
  [(48.935,34.573),(48.48,34.78),(48.557,34.951),(49.014,34.748)],
  [(45.01,28.458),(44.632,28.785),(44.755,28.928),(45.135,28.603)],
  [(51.179,44.229),(50.679,44.245),(50.684,44.433),(51.184,44.421)],
  [(50.62,39.664),(50.131,39.77),(50.17,39.954),(50.66,39.852)],
  [(46.877,30.892),(46.463,31.172),(46.567,31.328),(46.984,31.052)],
  [(51.118,43.08),(50.619,43.118),(50.633,43.305),(51.131,43.271)],
  [(41.69,25.274),(41.379,25.665),(41.525,25.783),(41.84,25.395)],
  [(47.297,31.535),(46.874,31.802),(46.974,31.961),(47.399,31.698)],
  [(50.446,38.917),(49.961,39.037),(50.006,39.22),(50.492,39.103)],
  [(42.283,25.762),(41.96,26.143),(42.103,26.266),(42.429,25.887)],
  [(42.574,26.013),(42.245,26.389),(42.386,26.513),(42.718,26.139)],
  [(43.969,27.33),(43.612,27.68),(43.743,27.815),(44.103,27.467)],
  [(46.66,30.576),(46.25,30.862),(46.357,31.016),(46.77,30.734)],
  [(39.504,23.715),(39.236,24.136),(39.394,24.238),(39.666,23.818)],
  [(50.031,37.439),(49.554,37.589),(49.61,37.769),(50.088,37.622)],
  [(46.439,30.263),(46.033,30.555),(46.142,30.708),(46.55,30.419)],
  [(51.188,44.613),(50.688,44.621),(50.69,44.809),(51.19,44.805)],
  [(38.185,22.93),(37.943,23.368),(38.107,23.46),(38.352,23.024)],
  [(37.848,22.747),(37.612,23.188),(37.778,23.277),(38.017,22.838)],
  [(38.519,23.119),(38.27,23.553),(38.433,23.647),(38.685,23.215)],
  [(37.508,22.569),(37.279,23.013),(37.446,23.1),(37.678,22.657)],
  [(27.208,19.803),(27.183,20.302),(27.371,20.312),(27.399,19.813)],
  [(30.257,20.14),(30.172,20.633),(30.358,20.666),(30.446,20.174)],
  [(35.058,21.469),(34.878,21.935),(35.053,22.004),(35.237,21.539)],
  [(27.591,19.825),(27.558,20.324),(27.746,20.337),(27.782,19.838)],
  [(28.738,19.925),(28.683,20.422),(28.869,20.444),(28.928,19.947)],
  [(27.974,19.852),(27.934,20.351),(28.121,20.367),(28.165,19.868)],
  [(28.356,19.886),(28.308,20.384),(28.496,20.402),(28.547,19.905)],
  [(34.699,21.333),(34.526,21.802),(34.702,21.868),(34.879,21.4)],
  [(35.77,21.756),(35.576,22.217),(35.749,22.291),(35.946,21.832)],
  [(35.415,21.61),(35.228,22.073),(35.402,22.145),(35.593,21.682)],
  [(29.879,20.078),(29.801,20.572),(29.987,20.602),(30.068,20.108)],
  [(31.761,20.448),(31.646,20.934),(31.829,20.978),(31.948,20.492)],
  [(36.122,21.908),(35.921,22.366),(36.093,22.442),(36.298,21.986)],
  [(31.012,20.283),(30.912,20.772),(31.096,20.811),(31.2,20.322)],
  [(26.824,19.787),(26.807,20.287),(26.995,20.294),(27.016,19.794)],
  [(30.635,20.209),(30.542,20.7),(30.727,20.736),(30.824,20.245)],
  [(34.338,21.203),(34.172,21.675),(34.349,21.738),(34.519,21.267)],
  [(29.119,19.97),(29.056,20.466),(29.243,20.491),(29.309,19.995)],
  [(26.44,19.777),(26.431,20.277),(26.619,20.281),(26.632,19.781)],
  [(32.875,20.738),(32.738,21.219),(32.919,21.271),(33.06,20.791)],
  [(33.61,20.959),(33.459,21.436),(33.638,21.493),(33.793,21.018)],
  [(32.134,20.539),(32.012,21.023),(32.194,21.07),(32.32,20.586)],
  [(26.057,19.772),(26.055,20.272),(26.243,20.274),(26.249,19.774)],
  [(33.975,21.078),(33.816,21.552),(33.995,21.613),(34.157,21.14)],
  [(32.506,20.635),(32.376,21.118),(32.557,21.168),(32.691,20.686)],
  [(29.499,20.021),(29.429,20.516),(29.615,20.543),(29.689,20.049)],
  [(33.244,20.846),(33.099,21.324),(33.279,21.379),(33.427,20.902)],
  [(31.387,20.362),(31.28,20.851),(31.463,20.892),(31.574,20.404)])
R(swg_380_780_25, DevRec, [(-1,0,52.926,90)])
swg_380_780_25.add(gdstk.FlexPath([(0.25,89.99),(0.25,90.01)], 0.5, ends="flush", simple_path=True, layer=1, datatype=10))  # PinRec
swg_380_780_25.add(gdstk.FlexPath([(51.676,89.99),(51.676,90.01)], 0.5, ends="flush", simple_path=True, layer=1, datatype=10))  # PinRec
swg_380_780_25.add(gdstk.FlexPath([(0.25,0.01),(0.25,-0.01)], 0.5, ends="flush", simple_path=True, layer=1, datatype=10))  # PinRec
swg_380_780_25.add(gdstk.FlexPath([(51.676,0.01),(51.676,-0.01)], 0.5, ends="flush", simple_path=True, layer=1, datatype=10))  # PinRec
swg_380_780_25.add(gdstk.Label('opt1', (0.25,90), layer=1, texttype=10))
swg_380_780_25.add(gdstk.Label('opt2', (51.676,90), layer=1, texttype=10))
swg_380_780_25.add(gdstk.Label('opt3', (0.25,0), layer=1, texttype=10))
swg_380_780_25.add(gdstk.Label('opt4', (51.676,0), layer=1, texttype=10))

lib.write_gds('swg_380_780_25.gds')
